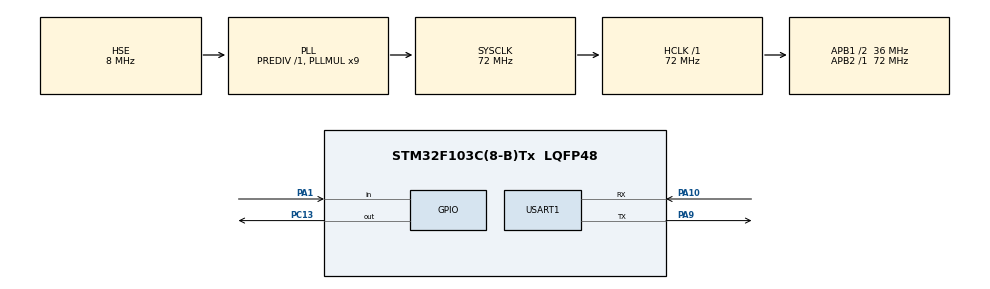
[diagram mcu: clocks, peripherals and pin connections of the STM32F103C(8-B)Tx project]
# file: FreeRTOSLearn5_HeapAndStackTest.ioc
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FREERTOS.INCLUDE_xTaskGetHandle=1
FREERTOS.Tasks01=defaultTask,24,128,StartDefaultTask,Default,NULL,Dynamic,NULL,NULL;myTask02,24,128,StartTask02,Default,NULL,Dynamic,NULL,NULL;myTask03,24,128,StartTask03,Default,NULL,Dynamic,NULL,NULL;myTask01,24,128,StartTask01,Default,NULL,Dynamic,NULL,NULL
Mcu.Family=STM32F1
Mcu.Name=STM32F103C(8-B)Tx
Mcu.Package=LQFP48
NVIC.PriorityGroup=NVIC_PRIORITYGROUP_4
NVIC.TIM1_UP_IRQn=true\:5\:0\:false\:false\:true\:true\:true\:true\:true
PA1.GPIO_PuPd=GPIO_PULLUP
PA1.Signal=GPIO_Input
PA10.Mode=Asynchronous
PA10.Signal=USART1_RX
PA13.Mode=Serial_Wire
PA13.Signal=SYS_JTMS-SWDIO
PA14.Mode=Serial_Wire
PA14.Signal=SYS_JTCK-SWCLK
PA9.Mode=Asynchronous
PA9.Signal=USART1_TX
PC13-TAMPER-RTC.Signal=GPIO_Output
PD0-OSC_IN.Mode=HSE-External-Oscillator
PD0-OSC_IN.Signal=RCC_OSC_IN
PD1-OSC_OUT.Mode=HSE-External-Oscillator
PD1-OSC_OUT.Signal=RCC_OSC_OUT
ProjectManager.HeapSize=0x200
ProjectManager.StackSize=0x400
ProjectManager.TargetToolchain=MDK-ARM V5.32
RCC.AHBFreq_Value=72000000
RCC.APB1CLKDivider=RCC_HCLK_DIV2
RCC.APB1Freq_Value=36000000
RCC.APB1TimFreq_Value=72000000
RCC.APB2Freq_Value=72000000
RCC.APB2TimFreq_Value=72000000
RCC.HCLKFreq_Value=72000000
RCC.PLLMUL=RCC_PLL_MUL9
RCC.PLLSourceVirtual=RCC_PLLSOURCE_HSE
RCC.SYSCLKFreq_VALUE=72000000
RCC.SYSCLKSource=RCC_SYSCLKSOURCE_PLLCLK
RCC.USBFreq_Value=72000000
TIM1.Period=7200-1
TIM1.Prescaler=9
USART1.VirtualMode=VM_ASYNC
VP_FREERTOS_VS_CMSIS_V2.Mode=CMSIS_V2
VP_TIM1_VS_ClockSourceINT.Mode=Internal
board=custom

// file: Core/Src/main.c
/* USER CODE BEGIN Header */
/**
  ******************************************************************************
  * @file           : main.c
  * @brief          : Main program body
  ******************************************************************************
  * @attention
  *
  * Copyright (c) 2026 STMicroelectronics.
  * All rights reserved.
  *
  * This software is licensed under terms that can be found in the LICENSE file
  * in the root directory of this software component.
  * If no LICENSE file comes with this software, it is provided AS-IS.
  *
  ******************************************************************************
  */
/* USER CODE END Header */
#include "main.h"
#include "cmsis_os.h"

/* USER CODE BEGIN Includes */
#include "UserTask.h"
/* USER CODE END Includes */

TIM_HandleTypeDef htim1;

UART_HandleTypeDef huart1;

/* Definitions for defaultTask */
osThreadId_t defaultTaskHandle;
const osThreadAttr_t defaultTask_attributes = {
  .name = "defaultTask",
  .stack_size = 128 * 4,
  .priority = (osPriority_t) osPriorityNormal,
};
/* Definitions for myTask02 */
osThreadId_t myTask02Handle;
const osThreadAttr_t myTask02_attributes = {
  .name = "myTask02",
  .stack_size = 128 * 4,
  .priority = (osPriority_t) osPriorityNormal,
};
/* Definitions for myTask03 */
osThreadId_t myTask03Handle;
const osThreadAttr_t myTask03_attributes = {
  .name = "myTask03",
  .stack_size = 128 * 4,
  .priority = (osPriority_t) osPriorityNormal,
};
/* Definitions for myTask01 */
osThreadId_t myTask01Handle;
const osThreadAttr_t myTask01_attributes = {
  .name = "myTask01",
  .stack_size = 128 * 4,
  .priority = (osPriority_t) osPriorityNormal,
};

void SystemClock_Config(void);
static void MX_GPIO_Init(void);
static void MX_USART1_UART_Init(void);
static void MX_TIM1_Init(void);
void StartDefaultTask(void *argument);
void StartTask02(void *argument);
void StartTask03(void *argument);
void StartTask01(void *argument);

int main(void)
{

  /* MCU Configuration--------------------------------------------------------*/

  /* Reset of all peripherals, Initializes the Flash interface and the Systick. */
  HAL_Init();

  /* Configure the system clock */
  SystemClock_Config();

  /* Initialize all configured peripherals */
  MX_GPIO_Init();
  MX_USART1_UART_Init();
  MX_TIM1_Init();

  /* Init scheduler */
  osKernelInitialize();

  /* Create the thread(s) */
  /* creation of defaultTask */
  defaultTaskHandle = osThreadNew(StartDefaultTask, NULL, &defaultTask_attributes);

  /* creation of myTask02 */
  myTask02Handle = osThreadNew(StartTask02, NULL, &myTask02_attributes);

  /* creation of myTask03 */
  myTask03Handle = osThreadNew(StartTask03, NULL, &myTask03_attributes);

  /* creation of myTask01 */
  myTask01Handle = osThreadNew(StartTask01, NULL, &myTask01_attributes);

  /* Start scheduler */
  osKernelStart();

  /* We should never get here as control is now taken by the scheduler */

  /* Infinite loop */
  while (1)
  {

  }
}

void SystemClock_Config(void)
{
  RCC_OscInitTypeDef RCC_OscInitStruct = {0};
  RCC_ClkInitTypeDef RCC_ClkInitStruct = {0};

  /** Initializes the RCC Oscillators according to the specified parameters
  * in the RCC_OscInitTypeDef structure.
  */
  RCC_OscInitStruct.OscillatorType = RCC_OSCILLATORTYPE_HSE;
  RCC_OscInitStruct.HSEState = RCC_HSE_ON;
  RCC_OscInitStruct.HSEPredivValue = RCC_HSE_PREDIV_DIV1;
  RCC_OscInitStruct.HSIState = RCC_HSI_ON;
  RCC_OscInitStruct.PLL.PLLState = RCC_PLL_ON;
  RCC_OscInitStruct.PLL.PLLSource = RCC_PLLSOURCE_HSE;
  RCC_OscInitStruct.PLL.PLLMUL = RCC_PLL_MUL9;
  if (HAL_RCC_OscConfig(&RCC_OscInitStruct) != HAL_OK)
  {
    Error_Handler();
  }

  /** Initializes the CPU, AHB and APB buses clocks
  */
  RCC_ClkInitStruct.ClockType = RCC_CLOCKTYPE_HCLK|RCC_CLOCKTYPE_SYSCLK
                              |RCC_CLOCKTYPE_PCLK1|RCC_CLOCKTYPE_PCLK2;
  RCC_ClkInitStruct.SYSCLKSource = RCC_SYSCLKSOURCE_PLLCLK;
  RCC_ClkInitStruct.AHBCLKDivider = RCC_SYSCLK_DIV1;
  RCC_ClkInitStruct.APB1CLKDivider = RCC_HCLK_DIV2;
  RCC_ClkInitStruct.APB2CLKDivider = RCC_HCLK_DIV1;

  if (HAL_RCC_ClockConfig(&RCC_ClkInitStruct, FLASH_LATENCY_2) != HAL_OK)
  {
    Error_Handler();
  }
}

static void MX_TIM1_Init(void)
{

  TIM_ClockConfigTypeDef sClockSourceConfig = {0};
  TIM_MasterConfigTypeDef sMasterConfig = {0};

  htim1.Instance = TIM1;
  htim1.Init.Prescaler = 9;
  htim1.Init.CounterMode = TIM_COUNTERMODE_UP;
  htim1.Init.Period = 7200-1;
  htim1.Init.ClockDivision = TIM_CLOCKDIVISION_DIV1;
  htim1.Init.RepetitionCounter = 0;
  htim1.Init.AutoReloadPreload = TIM_AUTORELOAD_PRELOAD_DISABLE;
  if (HAL_TIM_Base_Init(&htim1) != HAL_OK)
  {
    Error_Handler();
  }
  sClockSourceConfig.ClockSource = TIM_CLOCKSOURCE_INTERNAL;
  if (HAL_TIM_ConfigClockSource(&htim1, &sClockSourceConfig) != HAL_OK)
  {
    Error_Handler();
  }
  sMasterConfig.MasterOutputTrigger = TIM_TRGO_RESET;
  sMasterConfig.MasterSlaveMode = TIM_MASTERSLAVEMODE_DISABLE;
  if (HAL_TIMEx_MasterConfigSynchronization(&htim1, &sMasterConfig) != HAL_OK)
  {
    Error_Handler();
  }
  /* USER CODE BEGIN TIM1_Init 2 */
	__HAL_TIM_ENABLE_IT(&htim1,TIM_IT_UPDATE);//开启中断
HAL_TIM_Base_Start(&htim1);//配置定时器
  /* USER CODE END TIM1_Init 2 */

}

static void MX_USART1_UART_Init(void)
{

  huart1.Instance = USART1;
  huart1.Init.BaudRate = 115200;
  huart1.Init.WordLength = UART_WORDLENGTH_8B;
  huart1.Init.StopBits = UART_STOPBITS_1;
  huart1.Init.Parity = UART_PARITY_NONE;
  huart1.Init.Mode = UART_MODE_TX_RX;
  huart1.Init.HwFlowCtl = UART_HWCONTROL_NONE;
  huart1.Init.OverSampling = UART_OVERSAMPLING_16;
  if (HAL_UART_Init(&huart1) != HAL_OK)
  {
    Error_Handler();
  }

}

static void MX_GPIO_Init(void)
{
  GPIO_InitTypeDef GPIO_InitStruct = {0};

  /* GPIO Ports Clock Enable */
  __HAL_RCC_GPIOC_CLK_ENABLE();
  __HAL_RCC_GPIOD_CLK_ENABLE();
  __HAL_RCC_GPIOA_CLK_ENABLE();

  /*Configure GPIO pin Output Level */
  HAL_GPIO_WritePin(GPIOC, GPIO_PIN_13, GPIO_PIN_RESET);

  /*Configure GPIO pin : PC13 */
  GPIO_InitStruct.Pin = GPIO_PIN_13;
  GPIO_InitStruct.Mode = GPIO_MODE_OUTPUT_PP;
  GPIO_InitStruct.Pull = GPIO_NOPULL;
  GPIO_InitStruct.Speed = GPIO_SPEED_FREQ_LOW;
  HAL_GPIO_Init(GPIOC, &GPIO_InitStruct);

  /*Configure GPIO pin : PA1 */
  GPIO_InitStruct.Pin = GPIO_PIN_1;
  GPIO_InitStruct.Mode = GPIO_MODE_INPUT;
  GPIO_InitStruct.Pull = GPIO_PULLUP;
  HAL_GPIO_Init(GPIOA, &GPIO_InitStruct);

}

void StartDefaultTask(void *argument)
{
  /* USER CODE BEGIN 5 */
	uint8_t aucNameDefault[] = "defaultTask";
	uint8_t aucName1[] = "myTask01";
	uint8_t aucName2[] = "myTask02";
	uint8_t aucName3[] = "myTask03";

	uint8_t SZ[1000] = {0};
  /* Infinite loop */
  for(;;)
  {
	  //func1();
	  vPrintTaskInfor(aucNameDefault);
	  vPrintTaskInfor(aucName1);
	  vPrintTaskInfor(aucName2);
	  vPrintTaskInfor(aucName3);
	  vTaskDelay(2000);
  }
  /* USER CODE END 5 */
}

void StartTask02(void *argument)
{
  /* USER CODE BEGIN StartTask02 */
  /* Infinite loop */
  for(;;)
  {
	  ;
  }
  /* USER CODE END StartTask02 */
}

void StartTask03(void *argument)
{
  /* USER CODE BEGIN StartTask03 */
  /* Infinite loop */
  for(;;)
  {
	  ;
  }
  /* USER CODE END StartTask03 */
}

void StartTask01(void *argument)
{
  /* USER CODE BEGIN StartTask01 */
  /* Infinite loop */
  for(;;)
  {
    ;
  }
  /* USER CODE END StartTask01 */
}

void Error_Handler(void)
{
  __disable_irq();
  while (1)
  {
  }
}
